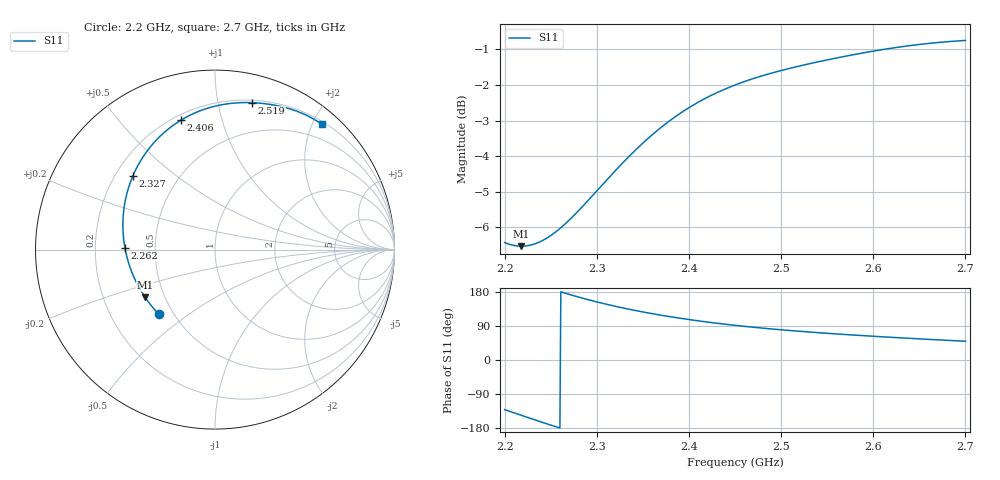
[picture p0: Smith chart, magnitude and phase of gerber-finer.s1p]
! PRELIMINARY bare PCB unless shell_eps > 0; see README.md
! L220 output ($1N324); all Gerber copper, components omitted (C216/L220/C217 not populated)
# Hz S RI R 50
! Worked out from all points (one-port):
!   501 points, 2.2 GHz to 2.7 GHz, reference 50 ohm
!   lowest |S11| = -6.5 dB at 2.218 GHz (marker M1), VSWR 2.78, Z = 19.4 - j13.2 ohm
!   |S11| at or under -10 dB: nowhere
!   S11 on the Smith chart (normalised r, x): 2.2 GHz: 0.42, -0.39; 2.262 GHz: 0.33, +0.01; 2.327 GHz: 0.27, +0.36; 2.406 GHz: 0.23, +0.75; 2.519 GHz: 0.22, +1.26; 2.7 GHz: 0.24, +2.14
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2.2e9  -0.3128 -0.3601
2.205e9  -0.3357 -0.3351
2.218e9  -0.3897 -0.2651
2.229e9  -0.4284 -0.2011
2.24e9  -0.4602 -0.1336
2.251e9  -0.4846 -0.0636
2.262e9  -0.5016 0.00787
2.263e9  -0.5027 0.0144
2.278e9  -0.5129 0.1126
2.293e9  -0.5095 0.2092
2.309e9  -0.4921 0.308
2.325e9  -0.4619 0.4002
2.327e9  -0.4573 0.4112
2.343e9  -0.4151 0.4939
2.358e9  -0.368 0.5626
2.373e9  -0.3153 0.6223
2.388e9  -0.2591 0.6727
2.406e9  -0.1891 0.7215
2.427e9  -0.1071 0.7636
2.45e9  -0.0203 0.7939
2.479e9  0.0813 0.8138
2.513e9  0.1874 0.8192
2.519e9  0.2048 0.8188
2.546e9  0.2782 0.8129
2.575e9  0.3502 0.8011
2.638e9  0.4871 0.7586
2.671e9  0.5482 0.7281
2.7e9  0.5953 0.6979
